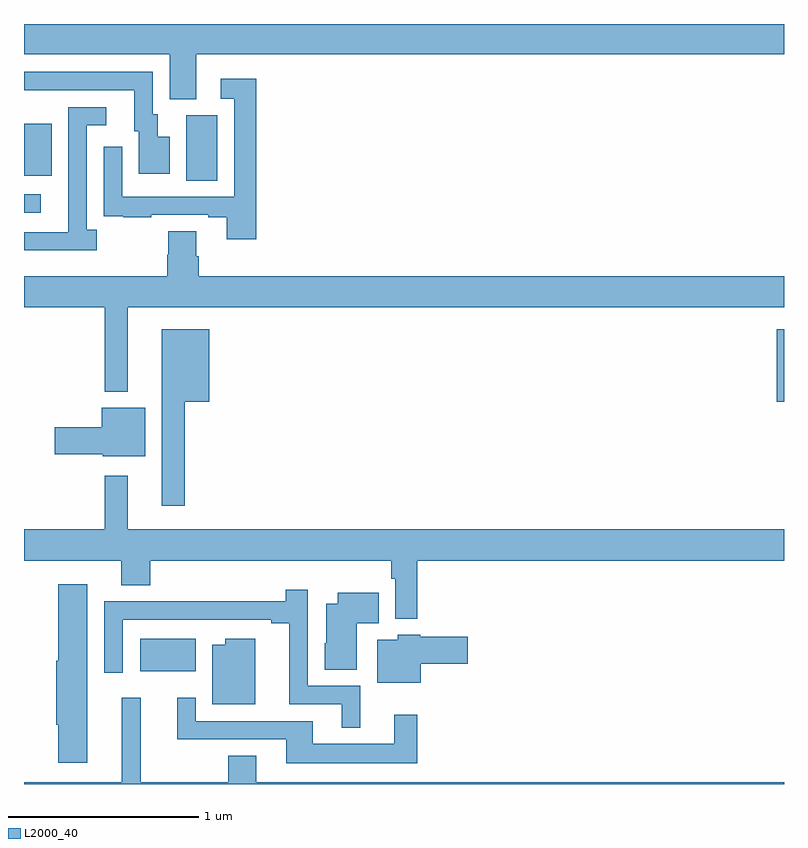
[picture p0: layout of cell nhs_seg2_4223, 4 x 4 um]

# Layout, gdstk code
import gdstk
lib = gdstk.Library(unit=1e-6, precision=1e-09)
def R(c, l, rs):  # rectangles x0, y0, x1, y1
    for r in rs: c.add(gdstk.rectangle(r[:2], r[2:], *l))
def P(c, l, *ps):  # polygons
    for p in ps: c.add(gdstk.Polygon(p, *l))
L2000_40 = (2000, 40)

nhs_seg2_4223 = lib.new_cell('nhs_seg2_4223')
R(nhs_seg2_4223, L2000_40, [(339.611,640.394,339.904,640.564), (342.962,641.813,343,642.193), (339,642.807,339.088,642.903), (339.854,642.976,340.018,643.32), (339,643.001,339.145,643.276)])
P(nhs_seg2_4223, L2000_40, [(339.907,643.64),(343,643.64),(343,643.8),(339,643.8),(339,643.64),(339.767,643.64),(339.767,643.405),(339.907,643.405)],
  [(339.766,643.207),(339.703,643.207),(339.703,643.326),(339.678,643.326),(339.678,643.548),(339,643.548),(339,643.452),(339.581,643.452),(339.581,643.236),(339.605,643.236),(339.605,643.011),(339.766,643.011)],
  [(340.223,643.513),(340.035,643.513),(340.035,643.407),(340.107,643.407),(340.107,642.891),(339.516,642.891),(339.516,643.153),(339.42,643.153),(339.42,642.898),(339.421,642.898),(339.421,642.789),(339.523,642.789),(339.523,642.783),(339.671,642.783),(339.671,642.795),(339.971,642.795),(339.971,642.783),(340.067,642.783),(340.067,642.666),(340.223,642.666)],
  [(339.382,642.718),(339.33,642.718),(339.33,643.266),(339.433,643.266),(339.433,643.362),(339.234,643.362),(339.234,642.905),(339.233,642.905),(339.233,642.705),(339,642.705),(339,642.608),(339.382,642.608)],
  [(339.547,642.308),(343,642.308),(343,642.472),(339.92,642.472),(339.92,642.578),(339.907,642.578),(339.907,642.71),(339.76,642.71),(339.76,642.585),(339.755,642.585),(339.755,642.472),(339,642.472),(339,642.308),(339.426,642.308),(339.426,641.864),(339.547,641.864)],
  [(339.847,641.813),(339.976,641.813),(339.976,642.193),(339.725,642.193),(339.725,641.265),(339.847,641.265)],
  [(339.637,641.779),(339.41,641.779),(339.41,641.678),(339.162,641.678),(339.162,641.536),(339.414,641.536),(339.414,641.525),(339.637,641.525)],
  [(341.069,640.976),(343,640.976),(343,641.14),(339.547,641.14),(339.547,641.422),(339.426,641.422),(339.426,641.14),(339,641.14),(339,640.976),(339.512,640.976),(339.512,640.846),(339.665,640.846),(339.665,640.976),(340.933,640.976),(340.933,640.88),(340.953,640.88),(340.953,640.67),(341.069,640.67)],
  [(339.334,640.852),(339.181,640.852),(339.181,640.449),(339.17,640.449),(339.17,640.113),(339.181,640.113),(339.181,639.912),(339.334,639.912)],
  [(340.771,640.317),(340.494,640.317),(340.494,640.822),(340.378,640.822),(340.378,640.763),(339.748,640.763),(339.748,640.761),(339.423,640.761),(339.423,640.386),(339.519,640.386),(339.519,640.665),(340.301,640.665),(340.301,640.645),(340.397,640.645),(340.397,640.221),(340.673,640.221),(340.673,640.097),(340.771,640.097)],
  [(340.75,640.646),(340.868,640.646),(340.868,640.807),(340.652,640.807),(340.652,640.75),(340.592,640.75),(340.592,640.542),(340.583,640.542),(340.583,640.402),(340.75,640.402)],
  [(341.089,640.433),(341.335,640.433),(341.335,640.575),(341.085,640.575),(341.085,640.585),(340.968,640.585),(340.968,640.558),(340.859,640.558),(340.859,640.334),(341.089,640.334)],
  [(340.216,640.564),(340.058,640.564),(340.058,640.534),(339.992,640.534),(339.992,640.22),(340.216,640.22)],
  [(343,639.808),(340.222,639.808),(340.222,639.95),(340.075,639.95),(340.075,639.808),(339.614,639.808),(339.614,640.255),(339.515,640.255),(339.515,639.808),(339,639.808),(339,639.8),(343,639.8)],
  [(341.071,640.165),(340.949,640.165),(340.949,640.012),(340.519,640.012),(340.519,640.131),(339.903,640.131),(339.903,640.255),(339.806,640.255),(339.806,640.035),(340.379,640.035),(340.379,639.908),(341.071,639.908)])

lib.write_gds('nhs_seg2_4223.gds')
